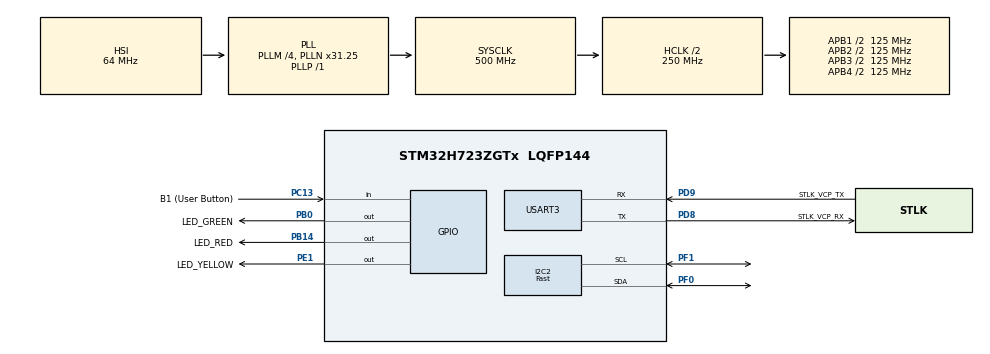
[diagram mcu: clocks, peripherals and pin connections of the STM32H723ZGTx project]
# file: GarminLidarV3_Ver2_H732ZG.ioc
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CORTEX_M7.default_mode_Activation=1
Dma.Request0=USART3_RX
Dma.USART3_RX.0.Direction=DMA_PERIPH_TO_MEMORY
Dma.USART3_RX.0.EventEnable=DISABLE
Dma.USART3_RX.0.FIFOMode=DMA_FIFOMODE_DISABLE
Dma.USART3_RX.0.Instance=DMA1_Stream0
Dma.USART3_RX.0.MemDataAlignment=DMA_MDATAALIGN_BYTE
Dma.USART3_RX.0.MemInc=DMA_MINC_ENABLE
Dma.USART3_RX.0.Mode=DMA_NORMAL
Dma.USART3_RX.0.PeriphDataAlignment=DMA_PDATAALIGN_BYTE
Dma.USART3_RX.0.PeriphInc=DMA_PINC_DISABLE
Dma.USART3_RX.0.Polarity=HAL_DMAMUX_REQ_GEN_RISING
Dma.USART3_RX.0.Priority=DMA_PRIORITY_LOW
Dma.USART3_RX.0.RequestNumber=1
Dma.USART3_RX.0.SignalID=NONE
Dma.USART3_RX.0.SyncEnable=DISABLE
Dma.USART3_RX.0.SyncPolarity=HAL_DMAMUX_SYNC_NO_EVENT
Dma.USART3_RX.0.SyncRequestNumber=1
Dma.USART3_RX.0.SyncSignalID=NONE
I2C2.I2C_Speed_Mode=I2C_Fast
I2C2.Timing=0x00C042E4
Mcu.Family=STM32H7
Mcu.Name=STM32H723ZGTx
Mcu.Package=LQFP144
NVIC.DMA1_Stream0_IRQn=true\:0\:0\:false\:false\:true\:false\:true\:true
NVIC.PriorityGroup=NVIC_PRIORITYGROUP_4
NVIC.TIM24_IRQn=true\:0\:0\:false\:false\:true\:true\:true\:true
NVIC.TIM2_IRQn=true\:0\:0\:false\:false\:true\:true\:true\:true
NVIC.USART3_IRQn=true\:0\:0\:false\:false\:true\:true\:true\:true
PA13(JTMS/SWDIO).GPIO_Label=SWDIO
PA13(JTMS/SWDIO).Signal=DEBUG_JTMS-SWDIO
PA14(JTCK/SWCLK).GPIO_Label=SWCLK
PA14(JTCK/SWCLK).Signal=DEBUG_JTCK-SWCLK
PB0.GPIO_Label=LED_GREEN
PB0.Signal=GPIO_Output
PB14.GPIO_Label=LED_RED
PB14.Signal=GPIO_Output
PC13.GPIO_Label=B1 (User Button)
PC13.Signal=GPIO_Input
PC14-OSC32_IN.Signal=RCC_OSC32_IN
PC15-OSC32_OUT.Signal=RCC_OSC32_OUT
PD8.GPIO_Label=STLK_VCP_RX
PD8.Mode=Asynchronous
PD8.Signal=USART3_TX
PD9.GPIO_Label=STLK_VCP_TX
PD9.Mode=Asynchronous
PD9.Signal=USART3_RX
PE1.GPIO_Label=LED_YELLOW
PE1.Signal=GPIO_Output
PF0.Mode=I2C
PF0.Signal=I2C2_SDA
PF1.Mode=I2C
PF1.Signal=I2C2_SCL
ProjectManager.HeapSize=0x200
ProjectManager.StackSize=0x400
ProjectManager.TargetToolchain=STM32CubeIDE
RCC.ADCFreq_Value=608000000
RCC.APB1Freq_Value=125000000
RCC.APB2Freq_Value=125000000
RCC.APB3Freq_Value=125000000
RCC.APB4Freq_Value=125000000
RCC.CortexFreq_Value=500000000
RCC.D1PPRE=RCC_APB3_DIV2
RCC.D2PPRE1=RCC_APB1_DIV2
RCC.D2PPRE2=RCC_APB2_DIV2
RCC.D3PPRE=RCC_APB4_DIV2
RCC.DIVM1=4
RCC.DIVM2=1
RCC.DIVN1=31
RCC.DIVN2=19
RCC.DIVP1=1
RCC.DIVQ1=4
RCC.HCLKFreq_Value=250000000
RCC.HPRE=RCC_HCLK_DIV2
RCC.HSE_VALUE=8000000
RCC.PLLFRACN=2048
RCC.SYSCLKFreq_VALUE=500000000
RCC.SYSCLKSource=RCC_SYSCLKSOURCE_PLLCLK
RCC.USBCLockSelection=RCC_USBCLKSOURCE_HSI48
RCC.USBFreq_Value=48000000
TIM2.Period=100-1
TIM2.Prescaler=250-1
TIM24.Prescaler=25-1
USART3.VirtualMode-Asynchronous=VM_ASYNC
VP_MEMORYMAP_VS_MEMORYMAP.Mode=CurAppReg
VP_TIM24_VS_ClockSourceINT.Mode=Internal
VP_TIM2_VS_ClockSourceINT.Mode=Internal
board=NUCLEO-H723ZG

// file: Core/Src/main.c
/* USER CODE BEGIN Header */
/**
  ******************************************************************************
  * @file           : main.c
  * @brief          : Main program body
  ******************************************************************************
  * @attention
  *
  * Copyright (c) 2025 STMicroelectronics.
  * All rights reserved.
  *
  * This software is licensed under terms that can be found in the LICENSE file
  * in the root directory of this software component.
  * If no LICENSE file comes with this software, it is provided AS-IS.
  *
  ******************************************************************************
  */
/* USER CODE END Header */
#include "main.h"

/* USER CODE BEGIN Includes */
#include <stdint.h>
#include <stdio.h>
#include <string.h>
#include <ctype.h>
#include <stdlib.h>
#include "GarminLidarLiteV3.h"
#include "stm32h7xx_hal.h"
#include "delay.h" // Include delay.h for delay functions
#include "commandReader.h"

/* USER CODE END Includes */

/* USER CODE BEGIN PD */
#define UART_DMA_RX_SIZE 32

/* USER CODE END PD */

I2C_HandleTypeDef hi2c2;

TIM_HandleTypeDef htim2;
TIM_HandleTypeDef htim24;

UART_HandleTypeDef huart3;
DMA_HandleTypeDef hdma_usart3_rx;

/* USER CODE BEGIN PV */
//typedef enum {
//	WAIT_STATE,
//	SIMPLE_MEASUREMENT,
//	CHANGE_SENSITIVITY,
//	STRING_STATE,
//	ACQ_CHANGE
//} StateType;
//StateType currentState = WAIT_STATE;

typedef enum {
	WAIT_STATE,
	SIMPLE_MEASUREMENT,
	CHANGE_SENSITIVITY,
	ACQ_CHANGE,
	ACQ_COUNT_TEST,
	ACQ_COUNT_INIT,
	TIMER_TEST_DELAY,
	BURST_INIT,
	BURST_TEST,
	SIMPLE_MEASUREMENT_SEMIBURST
} StateType;
StateType currentState = SIMPLE_MEASUREMENT;
//StateType currentState = ACQ_COUNT_INIT;

// For UART message processing
char uart_current_msg[UART_DMA_RX_SIZE];

// UART DMA Buffer
uint8_t UART3_rxBuffer[UART_DMA_RX_SIZE]; // DMA buffer

// Time tracking
volatile uint32_t seconds_counter = 0;

// Sensitivity level
volatile uint8_t sensitivity_level = 100;

// Sampling time set
volatile uint32_t sample_interval_ms = 1000;

// Acquisition count default
volatile uint8_t acq_count_value = 10;

// Sampling time set
volatile uint32_t N_samples = 20;

// semi burst count for SIMPLE_MEASUREMENT_SEMIBURST
volatile uint16_t burst_count_value = 5;

// Acq_command change parameters
volatile uint8_t acq_cmd_param = TAKE_DISTANCE_MEASUREMENT_WITH_BIAS_CORRECTION;

// Rate of ticks is 1MHz with prescalar of 100 (assuming 100MHz clock)
// 1ticks = 1us
uint32_t time_period_set = 10000; // Initial timer period in ticks to represent 10ms
volatile uint8_t measure_flag = 0; // Flag set in timer interrupt to trigger measurement

/* USER CODE END PV */

void SystemClock_Config(void);
static void MPU_Config(void);
static void MX_GPIO_Init(void);
static void MX_DMA_Init(void);
static void MX_USART3_UART_Init(void);
static void MX_I2C2_Init(void);
static void MX_TIM2_Init(void);
static void MX_TIM24_Init(void);

int main(void)
{

  /* MPU Configuration--------------------------------------------------------*/
  MPU_Config();

  /* MCU Configuration--------------------------------------------------------*/

  /* Reset of all peripherals, Initializes the Flash interface and the Systick. */
  HAL_Init();

  /* Configure the system clock */
  SystemClock_Config();

  /* Initialize all configured peripherals */
  MX_GPIO_Init();
  MX_DMA_Init();
  MX_USART3_UART_Init();
  MX_I2C2_Init();
  MX_TIM2_Init();
  MX_TIM24_Init();
  /* USER CODE BEGIN 2 */

  GarLiteV3_Init();
  HAL_UART_Receive_DMA(&huart3, UART3_rxBuffer, UART_DMA_RX_SIZE);
  // Start TIM2 with interrupt
  HAL_TIM_Base_Start_IT(&htim2);

  uint16_t distanceCm = 0;
  uint32_t timeSet = adjusteTimeForTicks(200); // Adjusted for timer ticks
  char msg[32];
  uint32_t start_time = 0; // will be added as counting in us for each periodic interrupt
  uint32_t i = 0;
  char endmsg[32] = "END\r\n";
  uint16_t NumOfBursts = 5; // Set number of bursts for burst measurement mode
  uint8_t burst_delay =10;

  /* USER CODE END 2 */

  /* Infinite loop */
  while (1)
  {

    /* USER CODE BEGIN 3 */
	  switch (currentState)
	  {
	  	  case WAIT_STATE:
	  		  // Do nothing, wait for command
	  		  break;

	  	  case TIMER_TEST_DELAY:
	  		  // Test timer delay function
  			  HAL_GPIO_TogglePin(LED_YELLOW_GPIO_Port, LED_YELLOW_Pin);
  			  delay_us(timeSet); // Delay in us
	  		  break;

	  	  case CHANGE_SENSITIVITY:
	  		  // Change sensitivity level (example value here)
	  		  config_THRESHOLD_BYPASS_reg(TH_SENSITIVITY_LEVEL(sensitivity_level),1);
	  		  currentState = WAIT_STATE; // Return to wait state
	  		  break;

	  	  case ACQ_CHANGE:
	  		  // Change acquisition parameters (not implemented in this example)
	  		  config_ACQ_COMMAND_reg(acq_cmd_param,1);
	  		  currentState = WAIT_STATE; // Return to wait state
	  		  break;

	  	  case SIMPLE_MEASUREMENT:
	  		  // Perform simple measurement with time stamp
	  		  // Reset time tracking
	  		  start_time = 0; // will be added as counting in us for each periodic interrupt
	  		  memset(msg, 0, sizeof(msg)); // Clears all elements of the array
	  		  i = 0;
	  		  // Configure timer period based on sample_interval_ms
	  		  time_period_set = sample_interval_ms * 1000; // Convert ms to us
	  		  // Reinitialize timer with new period
	  		  MX_TIM2_Init();
	  		  // Set up for loop up to N samples and exit SIMPLE_MEASUREMENT state after N samples
	  		  while (i < N_samples)
	  		  {
				  // Perform measurement once periodic interrupt is detected
				  // Wait for the timer period to elapse
	  			  if (measure_flag == 1)
	  			  {
	  				  measure_flag = 0; // Reset flag

	  				  // Take distance measurement
	  				  simple_measurement(&distanceCm,0);

	  				  // Format: "time_ms,distance_cm\r\n"
	  				  int len = snprintf(msg, sizeof(msg), "%lu,%u\r\n",start_time, distanceCm);
	  				  if (len > 0)
	  				  {
	  					  HAL_UART_Transmit(&huart3, (uint8_t *)msg, (uint16_t)len, HAL_MAX_DELAY);
	  				  }
	  				  i++; // Increment sample count
	  				  start_time += sample_interval_ms; // Increment time stamp in us
	  				  memset(msg, 0, sizeof(msg)); // Clears all elements of the array

	  			  }

	  		  }
	  		  // Send 'END' message to indicate end of measurement series
	  		  HAL_UART_Transmit(&huart3, (uint8_t *)endmsg, (uint16_t)strlen((char *)endmsg), HAL_MAX_DELAY);
	  		  HAL_GPIO_WritePin(LED_GREEN_GPIO_Port, LED_GREEN_Pin, GPIO_PIN_RESET); // Turn off green LED
	  		  currentState = WAIT_STATE; // Return to wait state
	  		  break;

	  	  case SIMPLE_MEASUREMENT_SEMIBURST:
	  		  // Perform simple measurement with semi-burst mode
	  		  uint16_t burst_gathered[10]; // Array to hold burst measurements
	  		  // Reset time tracking
	  		  start_time = 0; // will be added as counting in us for each periodic interrupt
	  		  memset(msg, 0, sizeof(msg)); // Clears all elements of the array
	  		  i = 0;
	  		  // Configure timer period based on sample_interval_ms
	  		  time_period_set = sample_interval_ms * 1000; // Convert ms to us
	  		  // Reinitialize timer with new period
	  		  MX_TIM2_Init();
	  		  // Set up for loop up to N samples and exit SIMPLE_MEASUREMENT state after N samples
	  		  while (i < N_samples)
	  		  {
				  // Perform measurement once periodic interrupt is detected
				  // Wait for the timer period to elapse
	  			  if (measure_flag == 1)
	  			  {
	  				  measure_flag = 0; // Reset flag
	  				  // Take semi-burst distance measurements
	  				  for (uint16_t j=0; j<burst_count_value; j++)
	  				  {
	  					  simple_measurement(&burst_gathered[j],0);
	  				  }
	  				  // Average burst measurements
	  				  uint32_t burst_sum =0;
	  				  for (uint16_t j=0; j<burst_count_value; j++)
	  				  {
	  					  burst_sum += burst_gathered[j];
	  				  }
	  				  distanceCm = burst_sum / burst_count_value;
	  				  // Format: "time_ms,distance_cm\r\n"
	  				  int len = snprintf(msg, sizeof(msg), "%lu,%u\r\n",start_time, distanceCm);
	  				  if (len > 0)
	  				  {
	  					  HAL_UART_Transmit(&huart3, (uint8_t *)msg, (uint16_t)len, HAL_MAX_DELAY);
	  				  }
	  				  i++; // Increment sample count
	  				  start_time += sample_interval_ms; // Increment time stamp in us
	  				  memset(msg, 0, sizeof(msg)); // Clears all elements of the array

	  			  }

	  		  }
	  		  // Send 'END' message to indicate end of measurement series
	  		  HAL_UART_Transmit(&huart3, (uint8_t *)endmsg, (uint16_t)strlen((char *)endmsg), HAL_MAX_DELAY);
	  		  HAL_GPIO_WritePin(LED_GREEN_GPIO_Port, LED_GREEN_Pin, GPIO_PIN_RESET); // Turn off green LED

	  		  currentState = WAIT_STATE; // Return to wait state
	  		  break;

	  	  case ACQ_COUNT_INIT:
	  		  // Change acquisition parameters to count test (not implemented in this example)
	  		  config_SIG_COUNT_VAL_reg(acq_count_value,1); // Set to 1 for count test
	  		  // Start a measurement *immediately*
	  		  config_ACQ_COMMAND_reg(acq_cmd_param, 0);
	  		  timeSet = adjusteTimeForTicks(200); // Adjusted for timer ticks
	  		  currentState = ACQ_COUNT_TEST;
	  		  break;

	  	  case ACQ_COUNT_TEST:
	  		  // Test after initialization
	  		  // Perform acquisition measurement with time stamp
	  		  // Reset time tracking
	  		  start_time = 0; // will be added as counting in us for each periodic interrupt
	  		  i = 0;
	  		  memset(msg, 0, sizeof(msg)); // Clears all elements of the array
	  		  // Configure timer period based on sample_interval_ms
	  		  time_period_set = sample_interval_ms * 1000; // Convert ms to us
	  		  // Reinitialize timer with new period
	  		  MX_TIM2_Init();
	  		  // Set up for loop up to N samples and exit SIMPLE_MEASUREMENT state after N samples
	  		  while (i < N_samples)
	  		  {
				  // Perform measurement once periodic interrupt is detected
				  // Wait for the timer period to elapse
	  			  if (measure_flag == 1)
	  			  {
	  				  measure_flag = 0; // Reset flag

	  				  // Take distance measurement
	  				  acq_count_measurements(&distanceCm,0);
	  				  // Format: "time_ms,distance_cm\r\n"
	  				  int len = snprintf(msg, sizeof(msg), "%lu,%u\r\n",start_time, distanceCm);
	  				  if (len > 0)
	  				  {
	  					  HAL_UART_Transmit(&huart3, (uint8_t *)msg, (uint16_t)len, HAL_MAX_DELAY);
	  				  }
	  				  i++; // Increment sample count
	  				  start_time += sample_interval_ms; // Increment time stamp in us
	  				  memset(msg, 0, sizeof(msg)); // Clears all elements of the array

	  			  }

	  		  }
	  		  // Send 'END' message to indicate end of measurement series
	  		  HAL_UART_Transmit(&huart3, (uint8_t *)endmsg, (uint16_t)strlen((char *)endmsg), HAL_MAX_DELAY);
	  		  HAL_GPIO_WritePin(LED_GREEN_GPIO_Port, LED_GREEN_Pin, GPIO_PIN_RESET); // Turn off green LED
	  		  currentState = WAIT_STATE; // Return to wait state
	  		  break;

	  	case BURST_INIT:
	  	    // Step 1: Configure ACQ_CONFIG_REG first
	  	    config_ACQ_CONFIG_REG(
	  	        ENABLE_REFERENCE_PROCESS,      // Keep reference process enabled
	  	        ENABLE_MEASURE_DELAY,          // Enable custom delay
	  	        DISABLE_REFERENCE_FILTER,
				ENABLE_QUICK_TERMINATION,      // Enable for faster measurements
	  	        DISABLE_REFERENCE_ACQ_COUNT,
	  	        DEFAULT_PWM_Mode,
	  	        1
	  	    );

	  	    // Step 2: Set MEASURE_DELAY BEFORE triggering
	  	    config_MEASURE_DELAY_reg(burst_delay, 1);  // Set delay to 10 (example value)

	  	    // Step 3: Set burst count
	  	    config_OUTER_LOOP_COUNT_reg(NumOfBursts, 1);

	  	    // Step 4: NOW trigger the burst (do this LAST!)
	  	    config_ACQ_COMMAND_reg(TAKE_DISTANCE_MEASUREMENT_WITH_BIAS_CORRECTION, 1);

	  	    // Step 5: Move to collection state
	  	    currentState = BURST_TEST;
	  	    break;

	  	case BURST_TEST:
//	  		The burst measurement works but based on waveforms the timing is not consistent.
//	  		In our case the sampling by single/ acquisition count modes is more reliable by sampling time.
	  	    char msg[64];
	  	    uint16_t data[NumOfBursts];
	  	    // Read each measurement as it becomes available
	  	    HAL_GPIO_TogglePin(LED_YELLOW_GPIO_Port, LED_YELLOW_Pin);
	  	    for (uint16_t i = 0; i < NumOfBursts; i++)
	  	    {
	  	        // Wait for measurement ready
	  	    	HAL_GPIO_TogglePin(LED_RED_GPIO_Port, LED_RED_Pin);
	  	        while ((read_STATUS_reg(0) & BUSY_FLAG) != 0); // Wait until BUSY = 0, then will measure
	  	    	HAL_GPIO_TogglePin(LED_RED_GPIO_Port, LED_RED_Pin);
	  	        // Read distance

	  	    	HAL_GPIO_TogglePin(LED_GREEN_GPIO_Port, LED_GREEN_Pin);
	  	        uint8_t high = read_FULL_DELAY_HIGH_reg(0);
	  	        uint8_t low = read_FULL_DELAY_LOW_reg(0);
	  	        uint16_t distance = ((uint16_t)high << 8) | low;
	  	        data[i] = distance;
	  	        HAL_GPIO_TogglePin(LED_GREEN_GPIO_Port, LED_GREEN_Pin);
	  	    }

	  	    HAL_GPIO_TogglePin(LED_YELLOW_GPIO_Port, LED_YELLOW_Pin);
	  	    // Average all measurements
	  	    uint32_t dataSum = 0;
	  	    for (uint16_t i = 0; i < NumOfBursts; i++)
	  	    {
	  	    	dataSum += data[i];
	  	    }
	  	    uint16_t dataAvg = dataSum / NumOfBursts;
	  	    // Send averaged result over UART
	  	    int len = snprintf(msg, sizeof(msg), "BURST_AVG_DISTANCE_CM: %u\r\n", dataAvg);
	  	    if (len > 0)
	  	    {
	  	        HAL_UART_Transmit(&huart3, (uint8_t *)msg, (uint16_t)len, HAL_MAX_DELAY);
	  	    }
	  	    // ✅ Trigger next burst!
	  	    config_ACQ_COMMAND_reg(TAKE_DISTANCE_MEASUREMENT_WITH_BIAS_CORRECTION, 0);
//	  	    HAL_Delay(10);
//	  	    currentState = BURST_INIT;

	  	    break;

	  }

  }
  /* USER CODE END 3 */
}

void SystemClock_Config(void)
{
  RCC_OscInitTypeDef RCC_OscInitStruct = {0};
  RCC_ClkInitTypeDef RCC_ClkInitStruct = {0};

  /** Supply configuration update enable
  */
  HAL_PWREx_ConfigSupply(PWR_LDO_SUPPLY);

  /** Configure the main internal regulator output voltage
  */
  __HAL_PWR_VOLTAGESCALING_CONFIG(PWR_REGULATOR_VOLTAGE_SCALE0);

  while(!__HAL_PWR_GET_FLAG(PWR_FLAG_VOSRDY)) {}

  /** Initializes the RCC Oscillators according to the specified parameters
  * in the RCC_OscInitTypeDef structure.
  */
  RCC_OscInitStruct.OscillatorType = RCC_OSCILLATORTYPE_HSI;
  RCC_OscInitStruct.HSIState = RCC_HSI_DIV1;
  RCC_OscInitStruct.HSICalibrationValue = 64;
  RCC_OscInitStruct.PLL.PLLState = RCC_PLL_ON;
  RCC_OscInitStruct.PLL.PLLSource = RCC_PLLSOURCE_HSI;
  RCC_OscInitStruct.PLL.PLLM = 4;
  RCC_OscInitStruct.PLL.PLLN = 31;
  RCC_OscInitStruct.PLL.PLLP = 1;
  RCC_OscInitStruct.PLL.PLLQ = 4;
  RCC_OscInitStruct.PLL.PLLR = 2;
  RCC_OscInitStruct.PLL.PLLRGE = RCC_PLL1VCIRANGE_3;
  RCC_OscInitStruct.PLL.PLLVCOSEL = RCC_PLL1VCOWIDE;
  RCC_OscInitStruct.PLL.PLLFRACN = 2048;
  if (HAL_RCC_OscConfig(&RCC_OscInitStruct) != HAL_OK)
  {
    Error_Handler();
  }

  /** Initializes the CPU, AHB and APB buses clocks
  */
  RCC_ClkInitStruct.ClockType = RCC_CLOCKTYPE_HCLK|RCC_CLOCKTYPE_SYSCLK
                              |RCC_CLOCKTYPE_PCLK1|RCC_CLOCKTYPE_PCLK2
                              |RCC_CLOCKTYPE_D3PCLK1|RCC_CLOCKTYPE_D1PCLK1;
  RCC_ClkInitStruct.SYSCLKSource = RCC_SYSCLKSOURCE_PLLCLK;
  RCC_ClkInitStruct.SYSCLKDivider = RCC_SYSCLK_DIV1;
  RCC_ClkInitStruct.AHBCLKDivider = RCC_HCLK_DIV2;
  RCC_ClkInitStruct.APB3CLKDivider = RCC_APB3_DIV2;
  RCC_ClkInitStruct.APB1CLKDivider = RCC_APB1_DIV2;
  RCC_ClkInitStruct.APB2CLKDivider = RCC_APB2_DIV2;
  RCC_ClkInitStruct.APB4CLKDivider = RCC_APB4_DIV2;

  if (HAL_RCC_ClockConfig(&RCC_ClkInitStruct, FLASH_LATENCY_3) != HAL_OK)
  {
    Error_Handler();
  }
}

static void MX_I2C2_Init(void)
{

  hi2c2.Instance = I2C2;
  hi2c2.Init.Timing = 0x00C042E4;
  hi2c2.Init.OwnAddress1 = 0;
  hi2c2.Init.AddressingMode = I2C_ADDRESSINGMODE_7BIT;
  hi2c2.Init.DualAddressMode = I2C_DUALADDRESS_DISABLE;
  hi2c2.Init.OwnAddress2 = 0;
  hi2c2.Init.OwnAddress2Masks = I2C_OA2_NOMASK;
  hi2c2.Init.GeneralCallMode = I2C_GENERALCALL_DISABLE;
  hi2c2.Init.NoStretchMode = I2C_NOSTRETCH_DISABLE;
  if (HAL_I2C_Init(&hi2c2) != HAL_OK)
  {
    Error_Handler();
  }

  /** Configure Analogue filter
  */
  if (HAL_I2CEx_ConfigAnalogFilter(&hi2c2, I2C_ANALOGFILTER_ENABLE) != HAL_OK)
  {
    Error_Handler();
  }

  /** Configure Digital filter
  */
  if (HAL_I2CEx_ConfigDigitalFilter(&hi2c2, 0) != HAL_OK)
  {
    Error_Handler();
  }

}

static void MX_TIM2_Init(void)
{

  TIM_ClockConfigTypeDef sClockSourceConfig = {0};
  TIM_MasterConfigTypeDef sMasterConfig = {0};

  htim2.Instance = TIM2;
  htim2.Init.Prescaler = 250-1;
  htim2.Init.CounterMode = TIM_COUNTERMODE_UP;
  htim2.Init.Period = time_period_set-1;
  htim2.Init.ClockDivision = TIM_CLOCKDIVISION_DIV1;
  htim2.Init.AutoReloadPreload = TIM_AUTORELOAD_PRELOAD_DISABLE;
  if (HAL_TIM_Base_Init(&htim2) != HAL_OK)
  {
    Error_Handler();
  }
  sClockSourceConfig.ClockSource = TIM_CLOCKSOURCE_INTERNAL;
  if (HAL_TIM_ConfigClockSource(&htim2, &sClockSourceConfig) != HAL_OK)
  {
    Error_Handler();
  }
  sMasterConfig.MasterOutputTrigger = TIM_TRGO_RESET;
  sMasterConfig.MasterSlaveMode = TIM_MASTERSLAVEMODE_DISABLE;
  if (HAL_TIMEx_MasterConfigSynchronization(&htim2, &sMasterConfig) != HAL_OK)
  {
    Error_Handler();
  }

}

static void MX_TIM24_Init(void)
{

  TIM_ClockConfigTypeDef sClockSourceConfig = {0};
  TIM_MasterConfigTypeDef sMasterConfig = {0};

  htim24.Instance = TIM24;
  htim24.Init.Prescaler = 25-1;
  htim24.Init.CounterMode = TIM_COUNTERMODE_UP;
  htim24.Init.Period = 4294967295;
  htim24.Init.ClockDivision = TIM_CLOCKDIVISION_DIV1;
  htim24.Init.AutoReloadPreload = TIM_AUTORELOAD_PRELOAD_DISABLE;
  if (HAL_TIM_Base_Init(&htim24) != HAL_OK)
  {
    Error_Handler();
  }
  sClockSourceConfig.ClockSource = TIM_CLOCKSOURCE_INTERNAL;
  if (HAL_TIM_ConfigClockSource(&htim24, &sClockSourceConfig) != HAL_OK)
  {
    Error_Handler();
  }
  sMasterConfig.MasterOutputTrigger = TIM_TRGO_RESET;
  sMasterConfig.MasterSlaveMode = TIM_MASTERSLAVEMODE_DISABLE;
  if (HAL_TIMEx_MasterConfigSynchronization(&htim24, &sMasterConfig) != HAL_OK)
  {
    Error_Handler();
  }

}

static void MX_USART3_UART_Init(void)
{

  huart3.Instance = USART3;
  huart3.Init.BaudRate = 115200;
  huart3.Init.WordLength = UART_WORDLENGTH_8B;
  huart3.Init.StopBits = UART_STOPBITS_1;
  huart3.Init.Parity = UART_PARITY_NONE;
  huart3.Init.Mode = UART_MODE_TX_RX;
  huart3.Init.HwFlowCtl = UART_HWCONTROL_NONE;
  huart3.Init.OverSampling = UART_OVERSAMPLING_16;
  huart3.Init.OneBitSampling = UART_ONE_BIT_SAMPLE_DISABLE;
  huart3.Init.ClockPrescaler = UART_PRESCALER_DIV1;
  huart3.AdvancedInit.AdvFeatureInit = UART_ADVFEATURE_NO_INIT;
  if (HAL_UART_Init(&huart3) != HAL_OK)
  {
    Error_Handler();
  }
  if (HAL_UARTEx_SetTxFifoThreshold(&huart3, UART_TXFIFO_THRESHOLD_1_8) != HAL_OK)
  {
    Error_Handler();
  }
  if (HAL_UARTEx_SetRxFifoThreshold(&huart3, UART_RXFIFO_THRESHOLD_1_8) != HAL_OK)
  {
    Error_Handler();
  }
  if (HAL_UARTEx_DisableFifoMode(&huart3) != HAL_OK)
  {
    Error_Handler();
  }

}

static void MX_DMA_Init(void)
{

  /* DMA controller clock enable */
  __HAL_RCC_DMA1_CLK_ENABLE();

  /* DMA interrupt init */
  /* DMA1_Stream0_IRQn interrupt configuration */
  HAL_NVIC_SetPriority(DMA1_Stream0_IRQn, 0, 0);
  HAL_NVIC_EnableIRQ(DMA1_Stream0_IRQn);

}

static void MX_GPIO_Init(void)
{
  GPIO_InitTypeDef GPIO_InitStruct = {0};

  /* GPIO Ports Clock Enable */
  __HAL_RCC_GPIOC_CLK_ENABLE();
  __HAL_RCC_GPIOF_CLK_ENABLE();
  __HAL_RCC_GPIOB_CLK_ENABLE();
  __HAL_RCC_GPIOD_CLK_ENABLE();
  __HAL_RCC_GPIOA_CLK_ENABLE();
  __HAL_RCC_GPIOE_CLK_ENABLE();

  /*Configure GPIO pin Output Level */
  HAL_GPIO_WritePin(GPIOB, LED_GREEN_Pin|LED_RED_Pin, GPIO_PIN_RESET);

  /*Configure GPIO pin Output Level */
  HAL_GPIO_WritePin(LED_YELLOW_GPIO_Port, LED_YELLOW_Pin, GPIO_PIN_RESET);

  /*Configure GPIO pin : B1_Pin */
  GPIO_InitStruct.Pin = B1_Pin;
  GPIO_InitStruct.Mode = GPIO_MODE_INPUT;
  GPIO_InitStruct.Pull = GPIO_NOPULL;
  HAL_GPIO_Init(B1_GPIO_Port, &GPIO_InitStruct);

  /*Configure GPIO pins : LED_GREEN_Pin LED_RED_Pin */
  GPIO_InitStruct.Pin = LED_GREEN_Pin|LED_RED_Pin;
  GPIO_InitStruct.Mode = GPIO_MODE_OUTPUT_PP;
  GPIO_InitStruct.Pull = GPIO_NOPULL;
  GPIO_InitStruct.Speed = GPIO_SPEED_FREQ_LOW;
  HAL_GPIO_Init(GPIOB, &GPIO_InitStruct);

  /*Configure GPIO pin : LED_YELLOW_Pin */
  GPIO_InitStruct.Pin = LED_YELLOW_Pin;
  GPIO_InitStruct.Mode = GPIO_MODE_OUTPUT_PP;
  GPIO_InitStruct.Pull = GPIO_NOPULL;
  GPIO_InitStruct.Speed = GPIO_SPEED_FREQ_LOW;
  HAL_GPIO_Init(LED_YELLOW_GPIO_Port, &GPIO_InitStruct);

}

/* USER CODE BEGIN 4 */

// Timer interrupt callback
void HAL_TIM_PeriodElapsedCallback(TIM_HandleTypeDef *htim)
{
    if (htim->Instance == TIM2)
    { // Check if the interrupt is from TIM2
    	if (currentState == SIMPLE_MEASUREMENT || currentState == ACQ_COUNT_TEST || currentState == SIMPLE_MEASUREMENT_SEMIBURST)
		{
        	HAL_GPIO_TogglePin(LED_GREEN_GPIO_Port, LED_GREEN_Pin);
        	measure_flag = 1; // Set flag to indicate measurement time
		}

    }
}

void HAL_UART_RxCpltCallback(UART_HandleTypeDef *huart)
{
    if (huart->Instance == USART3)
    {
        // Copy DMA buffer so we can safely modify/terminate it
        memcpy(uart_current_msg, UART3_rxBuffer, UART_DMA_RX_SIZE);

        // Parse the command, extracting command string
		char cmd_str[UART_DMA_RX_SIZE] = {0};
		uint8_t comma_index = 0;
		parse_uart_command(uart_current_msg, cmd_str, &comma_index);

        // Compare and act on commands
        if (strcmp(cmd_str, "oneMeas") == 0)
        {
        	uint8_t index = comma_index; // Value starts after comma
        	char sample_interval_str[8] = {0};
        	parse_uart_value(uart_current_msg, sample_interval_str, &index);
        	sample_interval_ms = (uint32_t)atoi(sample_interval_str);

        	char N_samples_str[8] = {0};
        	parse_uart_value(uart_current_msg, N_samples_str, &index);
        	N_samples = (uint32_t)atoi(N_samples_str);

        	currentState = SIMPLE_MEASUREMENT;
        }
        else if (strcmp(cmd_str, "acqMeas") == 0)
        {
        	uint8_t index = comma_index; // Value starts after comma
        	char sample_interval_str[8] = {0};
        	parse_uart_value(uart_current_msg, sample_interval_str, &index);
        	sample_interval_ms = (uint32_t)atoi(sample_interval_str);

        	char N_samples_str[8] = {0};
        	parse_uart_value(uart_current_msg, N_samples_str, &index);
        	N_samples = (uint32_t)atoi(N_samples_str);

        	char acq_count_str[8] = {0};
        	parse_uart_value(uart_current_msg, acq_count_str, &index);
        	acq_count_value = (uint8_t)atoi(acq_count_str);

        	currentState = ACQ_COUNT_INIT;
        }

        else if (strcmp(cmd_str, "sBurst") == 0)
        {
        	uint8_t index = comma_index; // Value starts after comma
        	char sample_interval_str[8] = {0};
        	parse_uart_value(uart_current_msg, sample_interval_str, &index);
        	sample_interval_ms = (uint32_t)atoi(sample_interval_str);

        	char N_samples_str[8] = {0};
        	parse_uart_value(uart_current_msg, N_samples_str, &index);
        	N_samples = (uint32_t)atoi(N_samples_str);

        	char burst_count_str[8] = {0};
        	parse_uart_value(uart_current_msg, burst_count_str, &index);
        	burst_count_value = (uint8_t)atoi(burst_count_str);

        	currentState = SIMPLE_MEASUREMENT_SEMIBURST;
        }

        else if (strcmp(cmd_str, "wait") == 0)
        {
            // Send a message indicating wait state
        	snprintf(uart_current_msg, sizeof(uart_current_msg), "Entering wait state\r\n");
        	HAL_GPIO_WritePin(LED_GREEN_GPIO_Port, LED_GREEN_Pin, GPIO_PIN_RESET); // Turn off green LED
        	measure_flag = 0; // Reset flag
        	HAL_UART_Transmit(&huart3, (uint8_t *)uart_current_msg, (uint16_t)strlen(uart_current_msg), HAL_MAX_DELAY);
        	currentState = WAIT_STATE;
        }

        else if (strcmp(cmd_str, "sensChange") == 0)
        {
        				// Get sensitivity value
			uint8_t index = comma_index; // Value starts after comma
			char sensitivity_value_str[8] = {0};
			parse_uart_value(uart_current_msg, sensitivity_value_str, &index);
			sensitivity_level = (uint8_t)atoi(sensitivity_value_str);
			currentState = CHANGE_SENSITIVITY;
        }

        else if (strcmp(cmd_str, "acqChange") == 0)
		{
			// Get acquisition change parameter
        	uint8_t index = comma_index; // Value starts after comma
        	char acq_param_str[8] = {0};
        	uint8_t acq_cmd_value =0;
        	parse_uart_value(uart_current_msg, acq_param_str, &index);
        	acq_cmd_value = (uint8_t)atoi(acq_param_str);
        	if (acq_cmd_value == RESET_DEVICE)
        	{
        		acq_cmd_param = RESET_DEVICE;
        	}
        	else if (acq_cmd_value == TAKE_DISTANCE_MEASUREMENT_WITH_BIAS_CORRECTION)
        	{
        		acq_cmd_param = TAKE_DISTANCE_MEASUREMENT_WITH_BIAS_CORRECTION;
        	}
        	else if (acq_cmd_value == TAKE_DISTANCE_MEASUREMENT_NO_BIAS_CORRECTION)
        	{
        	    acq_cmd_param = TAKE_DISTANCE_MEASUREMENT_NO_BIAS_CORRECTION;
        	}

        	currentState = ACQ_CHANGE;
		}

        else
        {
            // Unknown command
            char resp[64];
            int len = snprintf(resp, sizeof(resp), "Error: Unknown command '%s'\r\n", cmd_str);
            if (len > 0)
            {
                HAL_UART_Transmit(&huart3, (uint8_t *)resp, (uint16_t)len, HAL_MAX_DELAY);
            }
        }
    }

    // Clear DMA buffer and restart reception
    memset(UART3_rxBuffer, 0, UART_DMA_RX_SIZE);
    HAL_UART_Receive_DMA(&huart3, UART3_rxBuffer, UART_DMA_RX_SIZE);

}

/* USER CODE END 4 */

 /* MPU Configuration */

void MPU_Config(void)
{
  MPU_Region_InitTypeDef MPU_InitStruct = {0};

  /* Disables the MPU */
  HAL_MPU_Disable();

  /** Initializes and configures the Region and the memory to be protected
  */
  MPU_InitStruct.Enable = MPU_REGION_ENABLE;
  MPU_InitStruct.Number = MPU_REGION_NUMBER0;
  MPU_InitStruct.BaseAddress = 0x0;
  MPU_InitStruct.Size = MPU_REGION_SIZE_4GB;
  MPU_InitStruct.SubRegionDisable = 0x87;
  MPU_InitStruct.TypeExtField = MPU_TEX_LEVEL0;
  MPU_InitStruct.AccessPermission = MPU_REGION_NO_ACCESS;
  MPU_InitStruct.DisableExec = MPU_INSTRUCTION_ACCESS_DISABLE;
  MPU_InitStruct.IsShareable = MPU_ACCESS_SHAREABLE;
  MPU_InitStruct.IsCacheable = MPU_ACCESS_NOT_CACHEABLE;
  MPU_InitStruct.IsBufferable = MPU_ACCESS_NOT_BUFFERABLE;

  HAL_MPU_ConfigRegion(&MPU_InitStruct);
  /* Enables the MPU */
  HAL_MPU_Enable(MPU_PRIVILEGED_DEFAULT);

}

void Error_Handler(void)
{
  __disable_irq();
  while (1)
  {
  }
}
